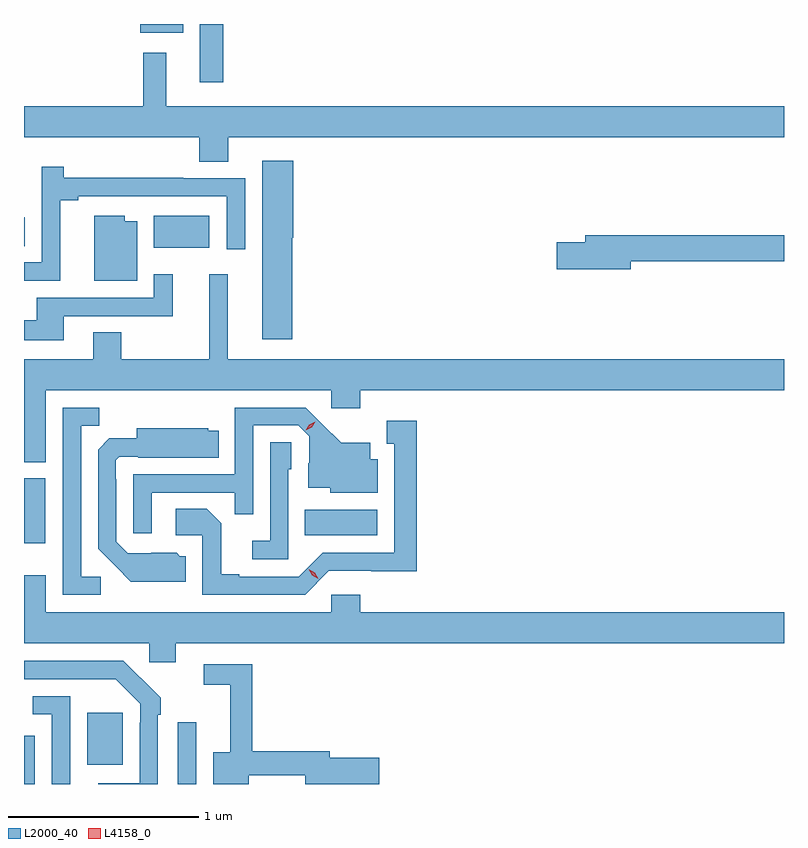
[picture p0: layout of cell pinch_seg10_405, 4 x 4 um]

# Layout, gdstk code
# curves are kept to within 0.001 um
import gdstk
lib = gdstk.Library(unit=1e-6, precision=1e-09)
def R(c, l, rs):  # rectangles x0, y0, x1, y1
    for r in rs: c.add(gdstk.rectangle(r[:2], r[2:], *l))
def P(c, l, *ps):  # polygons
    for p in ps: c.add(gdstk.Polygon(p, *l))
L2000_40 = (2000, 40)
L4158_0 = (4158, 0)

pinch_seg10_405 = lib.new_cell('pinch_seg10_405')
R(pinch_seg10_405, L2000_40, [(369.879,1303.572,369.936,1303.825), (370.689,1303.572,370.785,1303.897), (370.211,1303.673,370.399,1303.948), (369.879,1304.838,369.991,1305.181), (371.356,1304.882,371.737,1305.016), (370.562,1306.394,370.855,1306.564), (369.879,1306.402,369.883,1306.554), (370.805,1307.265,370.927,1307.572), (370.49,1307.525,370.717,1307.572)])
P(pinch_seg10_405, L2000_40, [(370.954,1306.976),(373.879,1306.976),(373.879,1307.14),(370.627,1307.14),(370.627,1307.422),(370.506,1307.422),(370.506,1307.14),(369.879,1307.14),(369.879,1306.976),(370.802,1306.976),(370.802,1306.846),(370.954,1306.846)],
  [(371.291,1306.446),(371.296,1306.446),(371.296,1306.852),(371.132,1306.852),(371.132,1305.912),(371.291,1305.912)],
  [(370.07,1306.645),(370.165,1306.645),(370.165,1306.665),(370.947,1306.665),(370.947,1306.386),(371.043,1306.386),(371.043,1306.761),(370.718,1306.761),(370.718,1306.763),(370.088,1306.763),(370.088,1306.822),(369.972,1306.822),(369.972,1306.317),(369.879,1306.317),(369.879,1306.221),(370.07,1306.221)],
  [(370.474,1306.534),(370.408,1306.534),(370.408,1306.564),(370.25,1306.564),(370.25,1306.22),(370.474,1306.22)],
  [(373.072,1306.324),(373.879,1306.324),(373.879,1306.46),(372.833,1306.46),(372.833,1306.424),(372.684,1306.424),(372.684,1306.282),(373.072,1306.282)],
  [(370.087,1306.035),(370.661,1306.035),(370.661,1306.255),(370.563,1306.255),(370.563,1306.131),(369.947,1306.131),(369.947,1306.012),(369.879,1306.012),(369.879,1305.908),(370.087,1305.908)],
  [(369.994,1305.644),(371.496,1305.644),(371.496,1305.549),(371.648,1305.549),(371.648,1305.644),(373.879,1305.644),(373.879,1305.808),(370.952,1305.808),(370.952,1306.255),(370.853,1306.255),(370.853,1305.808),(370.392,1305.808),(370.392,1305.95),(370.244,1305.95),(370.244,1305.808),(369.879,1305.808),(369.879,1305.266),(369.994,1305.266)],
  [(370.282,1304.664),(370.179,1304.664),(370.179,1305.457),(370.275,1305.457),(370.275,1305.552),(370.083,1305.552),(370.083,1304.568),(370.282,1304.568)],
  [(370.551,1305.105),(370.987,1305.105),(370.987,1304.992),(371.085,1304.992),(371.085,1305.459),(371.322,1305.459),(371.379,1305.402),(371.379,1305.26),(371.375,1305.26),(371.375,1305.131),(371.49,1305.131),(371.49,1305.104),(371.74,1305.104),(371.74,1305.28),(371.701,1305.28),(371.701,1305.367),(371.549,1305.367),(371.362,1305.552),(370.989,1305.552),(370.989,1305.201),(370.455,1305.201),(370.455,1304.892),(370.551,1304.892)],
  [(371.484,1304.694),(371.947,1304.693),(371.947,1305.484),(371.789,1305.484),(371.789,1305.363),(371.828,1305.363),(371.828,1304.79),(371.451,1304.79),(371.325,1304.664),(371.011,1304.664),(371.011,1304.677),(370.917,1304.677),(370.917,1304.944),(370.841,1305.02),(370.677,1305.02),(370.677,1304.88),(370.818,1304.88),(370.818,1304.568),(371.358,1304.568)],
  [(370.729,1304.772),(370.698,1304.772),(370.682,1304.788),(370.425,1304.787),(370.365,1304.847),(370.365,1305.176),(370.362,1305.176),(370.362,1305.276),(370.38,1305.294),(370.48,1305.294),(370.48,1305.29),(370.904,1305.29),(370.904,1305.43),(370.848,1305.43),(370.848,1305.445),(370.472,1305.445),(370.472,1305.391),(370.328,1305.391),(370.269,1305.332),(370.269,1304.81),(370.441,1304.636),(370.729,1304.636)],
  [(371.271,1305.228),(371.286,1305.228),(371.286,1305.371),(371.175,1305.371),(371.175,1304.851),(371.079,1304.851),(371.079,1304.754),(371.271,1304.754)],
  [(370.678,1304.312),(373.879,1304.312),(373.879,1304.476),(371.648,1304.476),(371.648,1304.569),(371.496,1304.569),(371.496,1304.476),(369.994,1304.476),(369.994,1304.671),(369.879,1304.671),(369.879,1304.312),(370.539,1304.312),(370.539,1304.214),(370.678,1304.214)],
  [(370.584,1303.937),(370.599,1303.937),(370.599,1304.025),(370.402,1304.22),(369.879,1304.22),(369.879,1304.124),(370.363,1304.124),(370.491,1303.995),(370.491,1303.895),(370.488,1303.895),(370.488,1303.575),(370.269,1303.575),(370.269,1303.572),(370.584,1303.572)],
  [(371.062,1303.617),(371.36,1303.617),(371.36,1303.572),(371.749,1303.572),(371.749,1303.709),(371.488,1303.709),(371.488,1303.745),(371.081,1303.745),(371.081,1304.202),(370.824,1304.202),(370.824,1304.094),(370.964,1304.094),(370.964,1303.738),(370.874,1303.738),(370.874,1303.572),(371.062,1303.572)],
  [(370.123,1303.577),(370.122,1303.577),(370.122,1304.034),(369.924,1304.034),(369.924,1303.938),(370.026,1303.938),(370.026,1303.572),(370.123,1303.572)])
P(pinch_seg10_405, L4158_0, [(371.427,1304.652),(371.395,1304.67),(371.377,1304.703),(371.377,1304.703),(371.378,1304.703),(371.409,1304.684),(371.427,1304.652),(371.427,1304.652)],
  [(371.362,1305.435),(371.362,1305.435),(371.38,1305.464),(371.411,1305.479),(371.412,1305.479),(371.412,1305.479),(371.394,1305.45),(371.363,1305.435)])

lib.write_gds('pinch_seg10_405.gds')
